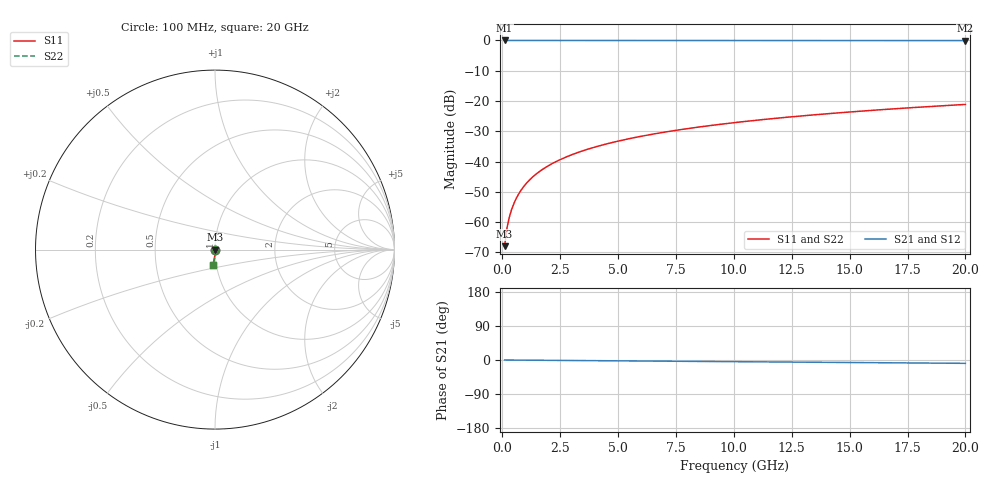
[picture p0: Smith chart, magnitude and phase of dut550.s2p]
! Touchstone file exported from HFSS 2026.1.0
!  File:  C:/ffzhzh/LocalFiles/Ansys_Project_Files/temp_train_TSV_550_1783024248_4048.aedt
!  Generated:  04:32:20 AM Jul  3, 2026
!  Design:  TSV
!  Project:  temp_train_TSV_550_1783024248_4048
! Variables:
!  h_bsmrdl = 2um
!  h_ox = 20um
!  h_rdl = 5um
!  h_sub = 76.98um
!  h_tmrdl = 5um
!  h_tsv = 76.98um
!  h_via = 3um
!  l_bsmrdl = 300um
!  l_sub = 425.54um
!  l_tmrdl = 200um
!  m_sub = 200um
!  pitch = 32.02um
!  r_tsv = 12.77um
!  s_tmrdl = 10um
!  w_bsmrdl = 18um
!  w_sub = 500um
!  w_tmrdl = 12um
!  x_tsv_center1 = 206um
!  x_tsv_center2 = 524um
!  x_tsv_center3 = 736um
!  x_tsv_center4 = 1054um
!  x_tsv_center5 = 1266um
!  x_tsv_center6 = 1584um
# GHz S MA R 50.000000
! Terminal data exported
! Port[1] = TSV1_1_T1
! Port[2] = TSV1_1_T2
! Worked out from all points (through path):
!   200 points, 100 MHz to 20 GHz, reference 50 ohm
!   highest |S21| = 0.00 dB at 100 MHz (marker M1); lowest = 0.0 dB at 20 GHz (marker M2)
!   group delay of S21, straight-line fit = 1.22 ps
!   lowest |S11| = -68.0 dB at 100 MHz (marker M3), VSWR 1.00, Z = 50 - j0.0388 ohm
!   |S11| at or under -10 dB: start of sweep to end of sweep
!   |S22| runs from -68.0 to -21.1 dB; largest |S21 - S12| = 3.5e-15
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0.1  0.0004004 -75.7  0.9999 -0.0  0.9999 -0.0  0.0004004 -75.7
! Gamma 0 0 0 0
! Port Impedance 50 0 50 0
0.2  0.0007898 -81.5  0.9999 -0.1  0.9999 -0.1  0.0007898 -81.5
0.3  0.001192 -83.2  0.9999 -0.1  0.9999 -0.1  0.001192 -83.2
0.4  0.001604 -84.0  0.9998 -0.2  0.9998 -0.2  0.001604 -84.0
0.5  0.002024 -84.4  0.9998 -0.2  0.9998 -0.2  0.002024 -84.4
0.7  0.002883 -85.2  0.9997 -0.3  0.9997 -0.3  0.002883 -85.2
0.8  0.003317 -85.5  0.9997 -0.4  0.9997 -0.4  0.003317 -85.5
1  0.004191 -86.1  0.9997 -0.5  0.9997 -0.5  0.004191 -86.1
1.2  0.005068 -86.6  0.9996 -0.5  0.9996 -0.5  0.005068 -86.6
1.4  0.005945 -87.0  0.9996 -0.6  0.9996 -0.6  0.005945 -87.0
1.7  0.007259 -87.6  0.9996 -0.8  0.9996 -0.8  0.007259 -87.6
2  0.008573 -88.0  0.9995 -0.9  0.9995 -0.9  0.008573 -88.0
2.7  0.01164 -88.8  0.9994 -1.2  0.9994 -1.2  0.01164 -88.8
3.5  0.01515 -89.5  0.9993 -1.6  0.9993 -1.6  0.01515 -89.5
4.2  0.01822 -90.0  0.9992 -1.9  0.9992 -1.9  0.01822 -90.0
5  0.02174 -90.5  0.9991 -2.2  0.9991 -2.2  0.02174 -90.5
6.8  0.02968 -91.5  0.9988 -3.0  0.9988 -3.0  0.02968 -91.5
8.3  0.03631 -92.3  0.9985 -3.7  0.9985 -3.7  0.03631 -92.3
10.1  0.04426 -93.2  0.9981 -4.5  0.9981 -4.5  0.04426 -93.2
13.4  0.05881 -94.8  0.9972 -5.9  0.9972 -5.9  0.05881 -94.8
16.7  0.07332 -96.4  0.9961 -7.4  0.9961 -7.4  0.07332 -96.4
20  0.08777 -97.9  0.9948 -8.8  0.9948 -8.8  0.08777 -97.9
